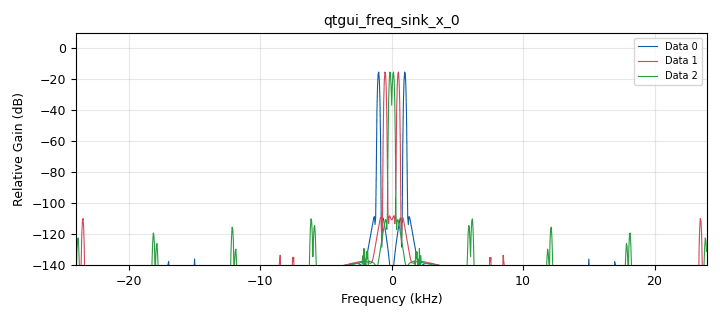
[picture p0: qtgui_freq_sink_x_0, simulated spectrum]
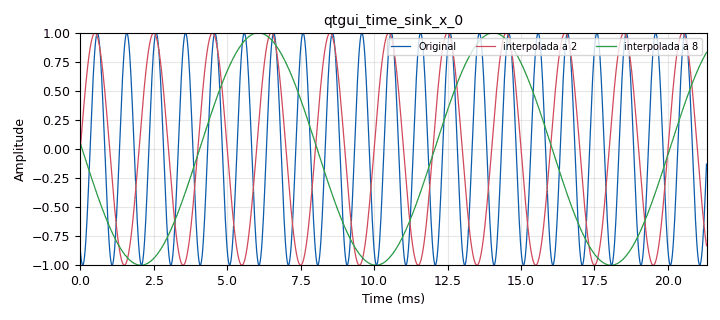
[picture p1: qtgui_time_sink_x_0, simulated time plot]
options:
  parameters:
    author: Omar&Adriana
    generate_options: qt_gui
    id: practica2
    output_language: python
    title: practica_2
  states: {}

blocks:
- name: samp_rate
  id: variable
  parameters:
    value: '48000'
  states: {}
- name: analog_sig_source_x_0
  id: analog_sig_source_x
  parameters:
    amp: '1'
    freq: '1000'
    offset: '0'
    phase: '0'
    samp_rate: samp_rate
    type: float
    waveform: analog.GR_SIN_WAVE
  states: {}
- name: analog_sig_source_x_0_0
  id: analog_sig_source_x
  parameters:
    amp: '1'
    freq: '1000'
    offset: '0'
    phase: '0'
    samp_rate: samp_rate
    type: float
    waveform: analog.GR_SIN_WAVE
  states: {}
- name: analog_sig_source_x_0_1
  id: analog_sig_source_x
  parameters:
    amp: '1'
    freq: '1000'
    offset: '0'
    phase: '0'
    samp_rate: samp_rate
    type: float
    waveform: analog.GR_SIN_WAVE
  states: {}
- name: blocks_throttle_0
  id: blocks_throttle
  parameters:
    samples_per_second: samp_rate
    type: float
  states: {}
- name: qtgui_freq_sink_x_0
  id: qtgui_freq_sink_x
  parameters:
    bw: samp_rate
    color1: '"black"'
    color3: '"blue"'
    fc: '0'
    fftsize: '1024'
    nconnections: '3'
    type: float
  states: {}
- name: qtgui_time_sink_x_0
  id: qtgui_time_sink_x
  parameters:
    color1: black
    color3: blue
    label1: Original
    label2: interpolada a 2
    label3: interpolada a 8
    nconnections: '3'
    size: '1024'
    srate: samp_rate
    style1: '5'
    type: float
  states: {}
- name: rational_resampler_xxx_0
  id: rational_resampler_xxx
  parameters:
    decim: '1'
    interp: '1'
    type: fff
  states: {}
- name: rational_resampler_xxx_1
  id: rational_resampler_xxx
  parameters:
    decim: '1'
    interp: '2'
    type: fff
  states: {}
- name: rational_resampler_xxx_2
  id: rational_resampler_xxx
  parameters:
    decim: '1'
    interp: '8'
    type: fff
  states: {}

connections:
- [analog_sig_source_x_0, '0', rational_resampler_xxx_0, '0']
- [analog_sig_source_x_0_0, '0', rational_resampler_xxx_2, '0']
- [analog_sig_source_x_0_1, '0', rational_resampler_xxx_1, '0']
- [blocks_throttle_0, '0', qtgui_freq_sink_x_0, '0']
- [blocks_throttle_0, '0', qtgui_time_sink_x_0, '0']
- [rational_resampler_xxx_0, '0', blocks_throttle_0, '0']
- [rational_resampler_xxx_1, '0', qtgui_freq_sink_x_0, '1']
- [rational_resampler_xxx_1, '0', qtgui_time_sink_x_0, '1']
- [rational_resampler_xxx_2, '0', qtgui_freq_sink_x_0, '2']
- [rational_resampler_xxx_2, '0', qtgui_time_sink_x_0, '2']

metadata:
  file_format: 1
